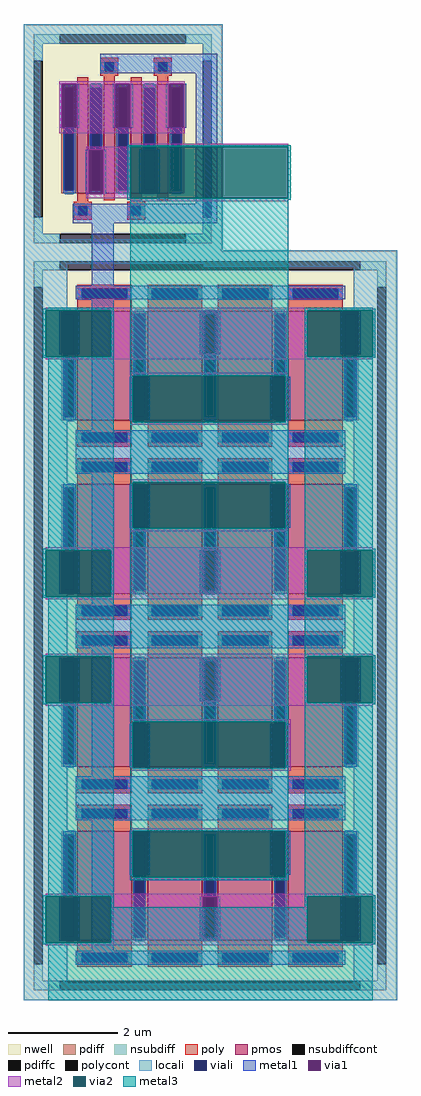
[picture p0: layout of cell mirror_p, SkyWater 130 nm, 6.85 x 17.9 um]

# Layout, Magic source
magic
tech sky130A
magscale 1 2
<< nwell >>
rect 230 1520 310 1570
<< locali >>
rect -320 1630 410 1700
rect -320 910 -260 1630
rect 340 910 410 1630
rect -320 870 410 910
rect -320 820 1050 870
rect -320 -1820 -160 820
rect 340 810 1050 820
rect 890 -1820 1050 810
rect -320 -1880 1050 -1820
<< metal1 >>
rect -40 1520 390 1590
rect -190 1320 -180 1480
rect -126 1320 -116 1480
rect 6 1320 16 1480
rect 70 1320 80 1480
rect 202 1320 212 1480
rect 266 1320 276 1480
rect -92 1078 -82 1238
rect -28 1078 -18 1238
rect 104 1078 114 1238
rect 168 1078 178 1238
rect 310 1040 390 1520
rect -140 970 390 1040
rect -70 740 10 970
rect -130 690 860 740
rect -190 488 -180 648
rect -126 488 -116 648
rect -70 210 10 690
rect 326 488 336 648
rect 390 488 400 648
rect 842 488 852 648
rect 906 488 916 648
rect 68 246 78 406
rect 132 246 142 406
rect 584 246 594 406
rect 648 246 658 406
rect -130 50 860 210
rect -190 -390 -180 -230
rect -126 -390 -116 -230
rect -70 -430 10 50
rect 68 -148 78 12
rect 132 -148 142 12
rect 584 -148 594 12
rect 648 -148 658 12
rect 326 -390 336 -230
rect 390 -390 400 -230
rect 842 -390 852 -230
rect 906 -390 916 -230
rect -130 -590 860 -430
rect -190 -784 -180 -624
rect -126 -784 -116 -624
rect -70 -1060 10 -590
rect 326 -784 336 -624
rect 390 -784 400 -624
rect 842 -784 852 -624
rect 906 -784 916 -624
rect 68 -1026 78 -866
rect 132 -1026 142 -866
rect 584 -1026 594 -866
rect 648 -1026 658 -866
rect -130 -1220 860 -1060
rect -190 -1662 -180 -1502
rect -126 -1662 -116 -1502
rect -70 -1700 10 -1220
rect 68 -1420 78 -1260
rect 132 -1420 142 -1260
rect 584 -1420 594 -1260
rect 648 -1420 658 -1260
rect 326 -1662 336 -1502
rect 390 -1662 400 -1502
rect 842 -1662 852 -1502
rect 906 -1662 916 -1502
rect -130 -1750 860 -1700
<< via1 >>
rect -180 1320 -126 1480
rect 16 1320 70 1480
rect 212 1320 266 1480
rect -82 1078 -28 1238
rect 114 1078 168 1238
rect -180 488 -126 648
rect 336 488 390 648
rect 852 488 906 648
rect 78 246 132 406
rect 594 246 648 406
rect -180 -390 -126 -230
rect 78 -148 132 12
rect 594 -148 648 12
rect 336 -390 390 -230
rect 852 -390 906 -230
rect -180 -784 -126 -624
rect 336 -784 390 -624
rect 852 -784 906 -624
rect 78 -1026 132 -866
rect 594 -1026 648 -866
rect -180 -1662 -126 -1502
rect 78 -1420 132 -1260
rect 594 -1420 648 -1260
rect 336 -1662 390 -1502
rect 852 -1662 906 -1502
<< metal2 >>
rect -190 1480 270 1490
rect -190 1320 -180 1480
rect -126 1320 16 1480
rect 70 1320 212 1480
rect 266 1320 270 1480
rect -190 1300 270 1320
rect 70 1250 650 1260
rect -90 1238 70 1250
rect -90 1078 -82 1238
rect -28 1078 70 1238
rect -90 1060 70 1078
rect 70 1050 650 1060
rect -240 650 960 660
rect 0 648 720 650
rect 0 488 336 648
rect 390 488 720 648
rect 0 480 720 488
rect -240 470 960 480
rect 70 410 650 420
rect 70 406 80 410
rect 640 406 650 410
rect 70 246 78 406
rect 648 246 650 406
rect 70 240 80 246
rect 640 240 650 246
rect 70 230 650 240
rect 70 20 650 30
rect 70 12 80 20
rect 640 12 650 20
rect 70 -148 78 12
rect 648 -148 650 12
rect 70 -150 80 -148
rect 640 -150 650 -148
rect 70 -160 650 -150
rect -240 -230 960 -220
rect 0 -390 336 -230
rect 390 -390 720 -230
rect 0 -400 720 -390
rect -240 -410 960 -400
rect -240 -620 960 -610
rect 0 -624 720 -620
rect 0 -784 336 -624
rect 390 -784 720 -624
rect 0 -790 720 -784
rect -240 -800 960 -790
rect 70 -860 660 -850
rect 70 -866 80 -860
rect 640 -866 660 -860
rect 70 -1026 78 -866
rect 648 -1026 660 -866
rect 70 -1030 80 -1026
rect 640 -1030 660 -1026
rect 70 -1040 660 -1030
rect 70 -1260 650 -1250
rect 70 -1420 78 -1260
rect 648 -1420 650 -1260
rect 70 -1430 80 -1420
rect 640 -1430 650 -1420
rect 70 -1440 650 -1430
rect -240 -1500 960 -1490
rect 0 -1502 720 -1500
rect 0 -1662 336 -1502
rect 390 -1662 720 -1502
rect 0 -1670 720 -1662
rect -240 -1680 960 -1670
<< via2 >>
rect 70 1238 650 1250
rect 70 1078 114 1238
rect 114 1078 168 1238
rect 168 1078 650 1238
rect 70 1060 650 1078
rect -240 648 0 650
rect 720 648 960 650
rect -240 488 -180 648
rect -180 488 -126 648
rect -126 488 0 648
rect 720 488 852 648
rect 852 488 906 648
rect 906 488 960 648
rect -240 480 0 488
rect 720 480 960 488
rect 80 406 640 410
rect 80 246 132 406
rect 132 246 594 406
rect 594 246 640 406
rect 80 240 640 246
rect 80 12 640 20
rect 80 -148 132 12
rect 132 -148 594 12
rect 594 -148 640 12
rect 80 -150 640 -148
rect -240 -390 -180 -230
rect -180 -390 -126 -230
rect -126 -390 0 -230
rect 720 -390 852 -230
rect 852 -390 906 -230
rect 906 -390 960 -230
rect -240 -400 0 -390
rect 720 -400 960 -390
rect -240 -624 0 -620
rect 720 -624 960 -620
rect -240 -784 -180 -624
rect -180 -784 -126 -624
rect -126 -784 0 -624
rect 720 -784 852 -624
rect 852 -784 906 -624
rect 906 -784 960 -624
rect -240 -790 0 -784
rect 720 -790 960 -784
rect 80 -866 640 -860
rect 80 -1026 132 -866
rect 132 -1026 594 -866
rect 594 -1026 640 -866
rect 80 -1030 640 -1026
rect 80 -1420 132 -1260
rect 132 -1420 594 -1260
rect 594 -1420 640 -1260
rect 80 -1430 640 -1420
rect -240 -1502 0 -1500
rect 720 -1502 960 -1500
rect -240 -1662 -180 -1502
rect -180 -1662 -126 -1502
rect -126 -1662 0 -1502
rect 720 -1662 852 -1502
rect 852 -1662 906 -1502
rect 906 -1662 960 -1502
rect -240 -1670 0 -1662
rect 720 -1670 960 -1662
<< metal3 >>
rect 60 1250 660 1255
rect 60 1060 70 1250
rect 650 1060 660 1250
rect 60 1055 660 1060
rect -230 655 10 660
rect -250 650 10 655
rect -250 480 -240 650
rect 0 480 10 650
rect -250 475 10 480
rect -230 -225 10 475
rect -250 -230 10 -225
rect -250 -400 -240 -230
rect 0 -400 10 -230
rect -250 -405 10 -400
rect -230 -615 10 -405
rect -250 -620 10 -615
rect -250 -790 -240 -620
rect 0 -790 10 -620
rect -250 -795 10 -790
rect -230 -1495 10 -795
rect 70 410 650 1055
rect 70 240 80 410
rect 640 240 650 410
rect 70 20 650 240
rect 70 -150 80 20
rect 640 -150 650 20
rect 70 -860 650 -150
rect 70 -1030 80 -860
rect 640 -1030 650 -860
rect 70 -1260 650 -1030
rect 70 -1430 80 -1260
rect 640 -1430 650 -1260
rect 70 -1440 650 -1430
rect 710 655 960 660
rect 710 650 970 655
rect 710 480 720 650
rect 960 480 970 650
rect 710 475 970 480
rect 710 -225 960 475
rect 710 -230 970 -225
rect 710 -400 720 -230
rect 960 -400 970 -230
rect 710 -405 970 -400
rect 710 -615 960 -405
rect 710 -620 970 -615
rect 710 -790 720 -620
rect 960 -790 970 -620
rect 710 -795 970 -790
rect -250 -1500 10 -1495
rect -250 -1670 -240 -1500
rect 0 -1540 10 -1500
rect 710 -1495 960 -795
rect 710 -1500 970 -1495
rect 710 -1540 720 -1500
rect 0 -1670 720 -1540
rect 960 -1670 970 -1500
rect -250 -1675 970 -1670
rect -230 -1880 960 -1675
use sky130_fd_pr__pfet_01v8_LXX5YL  sky130_fd_pr__pfet_01v8_LXX5YL_0
transform 1 0 363 0 1 -507
box -683 -1373 683 1373
use sky130_fd_pr__pfet_01v8_X9CJL2  sky130_fd_pr__pfet_01v8_X9CJL2_0
transform 1 0 43 0 1 1279
box -363 -419 363 419
<< end >>

# cell sky130_fd_pr__pfet_01v8_LXX5YL: kit device sky130_fd_pr__pfet_01v8, w 2 l 1 m 4 nf 4 diffcov 100 polycov 100 guard 1 glc 1 grc 1 gtc 1 gbc 1 tbcov 100 rlcov 100 topc 1 botc 1 poverlap 0 doverlap 1 lmin 0.15 wmin 0.42 compatible {sky130_fd_pr__pfet_01v8 sky130_fd_pr__pfet_01v8_lvt sky130_fd_pr__pfet_01v8_hvt sky130_fd_pr__pfet_g5v0d10v5} full_metal 1 viasrc 100 viadrn 100 viagate 100 viagb 0 viagr 0 viagl 0 viagt 0

# cell sky130_fd_pr__pfet_01v8_X9CJL2: kit device sky130_fd_pr__pfet_01v8, w 2 l 0.2 m 1 nf 4 diffcov 100 polycov 100 guard 1 glc 1 grc 1 gtc 1 gbc 1 tbcov 100 rlcov 100 topc 1 botc 1 poverlap 0 doverlap 1 lmin 0.15 wmin 0.42 compatible {sky130_fd_pr__pfet_01v8 sky130_fd_pr__pfet_01v8_lvt sky130_fd_pr__pfet_01v8_hvt sky130_fd_pr__pfet_g5v0d10v5} full_metal 1 viasrc 100 viadrn 100 viagate 100 viagb 0 viagr 0 viagl 0 viagt 0
